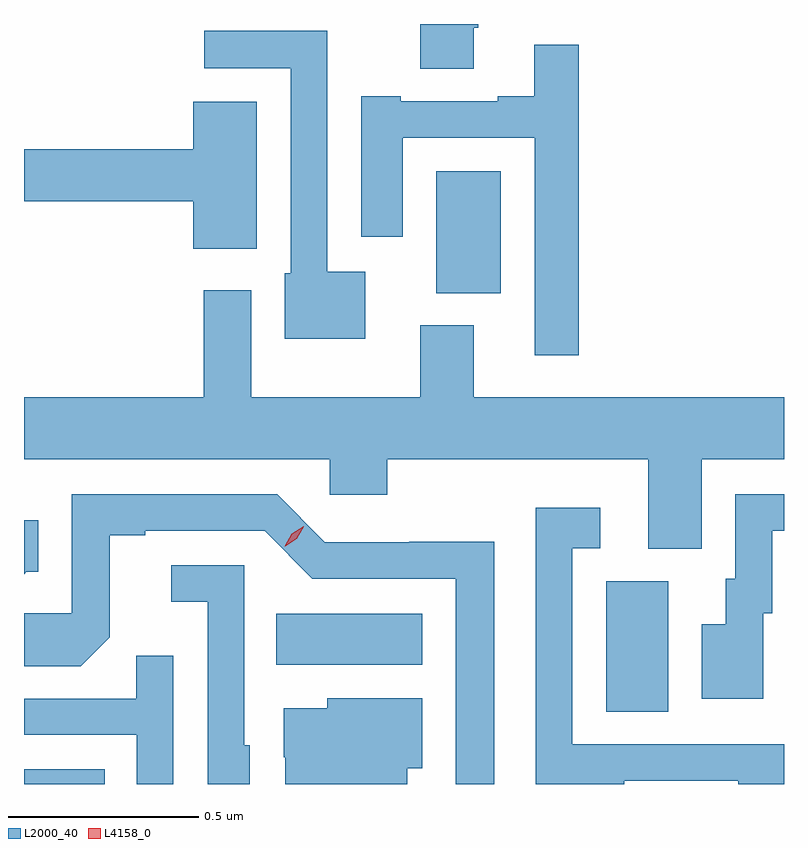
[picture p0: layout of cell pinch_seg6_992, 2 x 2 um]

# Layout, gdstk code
import gdstk
lib = gdstk.Library(unit=1e-6, precision=1e-09)
def R(c, l, rs):  # rectangles x0, y0, x1, y1
    for r in rs: c.add(gdstk.rectangle(r[:2], r[2:], *l))
def P(c, l, *ps):  # polygons
    for p in ps: c.add(gdstk.Polygon(p, *l))
L2000_40 = (2000, 40)
L4158_0 = (4158, 0)

pinch_seg6_992 = lib.new_cell('pinch_seg6_992')
R(pinch_seg6_992, L2000_40, [(352.266,941.154,352.478,941.193), (353.798,941.344,353.962,941.688), (352.93,941.468,353.314,941.602), (353.351,942.446,353.521,942.766)])
P(pinch_seg6_992, L2000_40, [(353.449,943.144),(353.462,943.144),(353.462,943.154),(353.309,943.154),(353.309,943.036),(353.449,943.036)],
  [(353.164,942.502),(353.064,942.502),(353.064,943.136),(352.74,943.136),(352.74,943.038),(352.968,943.038),(352.968,942.498),(352.952,942.498),(352.952,942.326),(353.164,942.326)],
  [(353.726,943.099),(353.609,943.099),(353.609,942.964),(353.513,942.964),(353.513,942.951),(353.257,942.951),(353.257,942.964),(353.153,942.964),(353.153,942.594),(353.263,942.594),(353.263,942.855),(353.61,942.855),(353.61,942.282),(353.726,942.282)],
  [(352.879,942.949),(352.712,942.949),(352.712,942.824),(352.266,942.824),(352.266,942.688),(352.712,942.688),(352.712,942.563),(352.879,942.563)],
  [(354.049,942.008),(354.266,942.008),(354.266,942.172),(353.449,942.172),(353.449,942.361),(353.309,942.361),(353.309,942.172),(352.864,942.172),(352.864,942.454),(352.739,942.454),(352.739,942.172),(352.266,942.172),(352.266,942.008),(353.07,942.008),(353.07,941.915),(353.222,941.915),(353.222,942.008),(353.909,942.008),(353.909,941.773),(354.049,941.773)],
  [(354.211,941.604),(354.235,941.604),(354.235,941.82),(354.266,941.82),(354.266,941.916),(354.138,941.916),(354.138,941.694),(354.113,941.694),(354.113,941.575),(354.05,941.575),(354.05,941.379),(354.211,941.379)],
  [(353.503,941.792),(353.28,941.792),(353.28,941.79),(353.058,941.79),(352.932,941.916),(352.392,941.916),(352.392,941.604),(352.266,941.604),(352.266,941.464),(352.415,941.464),(352.491,941.54),(352.491,941.808),(352.585,941.808),(352.585,941.82),(352.899,941.82),(353.025,941.694),(353.402,941.694),(353.402,941.154),(353.503,941.154)],
  [(353.845,941.163),(354.145,941.163),(354.145,941.154),(354.266,941.154),(354.266,941.259),(353.709,941.259),(353.709,941.775),(353.782,941.775),(353.782,941.881),(353.613,941.881),(353.613,941.154),(353.845,941.154)],
  [(352.272,941.712),(352.303,941.712),(352.303,941.848),(352.266,941.848),(352.266,941.706)],
  [(352.86,941.256),(352.845,941.256),(352.845,941.73),(352.653,941.73),(352.653,941.633),(352.749,941.633),(352.749,941.154),(352.86,941.154)],
  [(352.659,941.492),(352.561,941.492),(352.561,941.379),(352.266,941.379),(352.266,941.283),(352.563,941.283),(352.563,941.154),(352.659,941.154)],
  [(353.275,941.196),(353.314,941.196),(353.314,941.38),(353.064,941.38),(353.064,941.353),(352.949,941.353),(352.949,941.224),(352.953,941.224),(352.953,941.154),(353.275,941.154)])
P(pinch_seg6_992, L4158_0, [(352.952,941.78),(352.952,941.78),(352.97,941.813),(353.002,941.832),(353.002,941.832),(353.002,941.831),(352.984,941.799),(352.953,941.78)])

lib.write_gds('pinch_seg6_992.gds')
